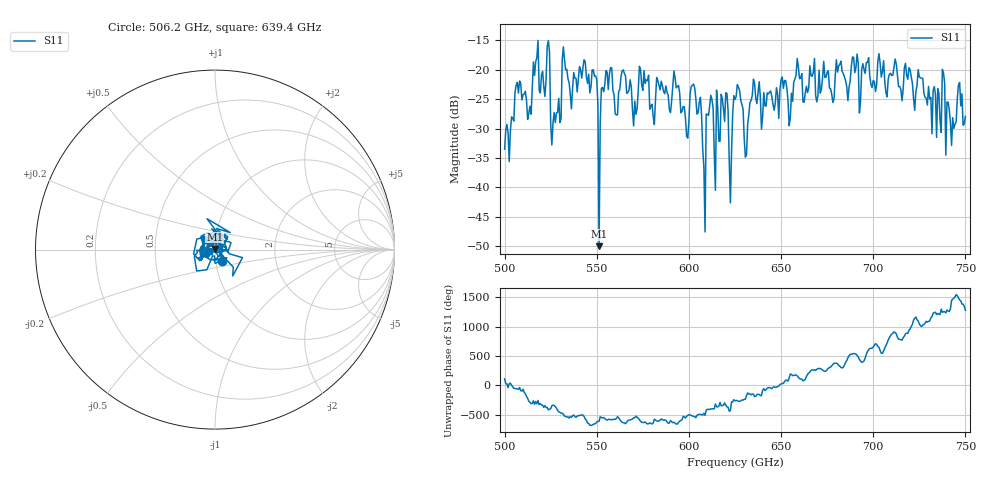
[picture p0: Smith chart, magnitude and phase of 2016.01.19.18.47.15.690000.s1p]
!Created with skrf (http://scikit-rf.org).
# GHz S RI R 50.0
!freq ReS11 ImS11
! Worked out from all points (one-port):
!   401 points, 500 GHz to 750 GHz, reference 50 ohm
!   lowest |S11| = -50.0 dB at 551.2 GHz (marker M1), VSWR 1.01, Z = 49.9 + j0.299 ohm
!   |S11| at or under -10 dB: start of sweep to end of sweep
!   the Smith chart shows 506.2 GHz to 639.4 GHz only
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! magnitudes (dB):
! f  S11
! 500 GHz  -33.5
! 507.5 GHz  -23.9
! 513.8 GHz  -26.2
! 516.9 GHz  -18.6
! 523.1 GHz  -15.9
! 526.2 GHz  -29.0
! 531.2 GHz  -18.3
! 548.8 GHz  -21.1
! 551.2 GHz  -50.0
! 556.2 GHz  -23.3
! 562.5 GHz  -23.4
! 576.9 GHz  -21.7
! 580 GHz  -25.9
! 593.8 GHz  -22.8
! 598.8 GHz  -31.3
! 602.5 GHz  -22.4
! 608.1 GHz  -36.6
! 611.9 GHz  -24.3
! 615 GHz  -23.4
! 620 GHz  -23.9
! 622.5 GHz  -42.6
! 625 GHz  -25.0
! 631.2 GHz  -34.5
! 634.4 GHz  -24.4
! 656.2 GHz  -25.4
! 687.5 GHz  -21.9
! 718.8 GHz  -21.6
! 750 GHz  -27.9
